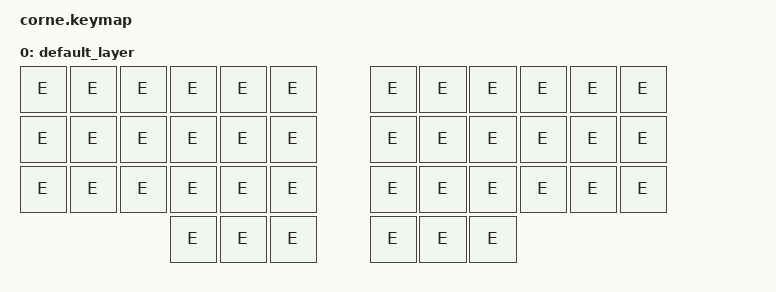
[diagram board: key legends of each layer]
/*
 * Copyright (c) 2020 The ZMK Contributors
 *
 * SPDX-License-Identifier: MIT
 */

#include <behaviors.dtsi>
#include <dt-bindings/zmk/keys.h>
#include <dt-bindings/zmk/bt.h>

/ {
        keymap {
                compatible = "zmk,keymap";

                default_layer {
                        bindings = <
   &kp E   &kp E &kp E &kp E &kp E &kp E   &kp E &kp E  &kp E     &kp E   &kp E    &kp E
   &kp E   &kp E &kp E &kp E &kp E &kp E   &kp E &kp E  &kp E     &kp E   &kp E    &kp E
   &kp E   &kp E &kp E &kp E &kp E &kp E   &kp E &kp E  &kp E     &kp E   &kp E    &kp E
                  &kp E &kp E &kp E   &kp E &kp E &kp E
                        >;
                };
        };
};
